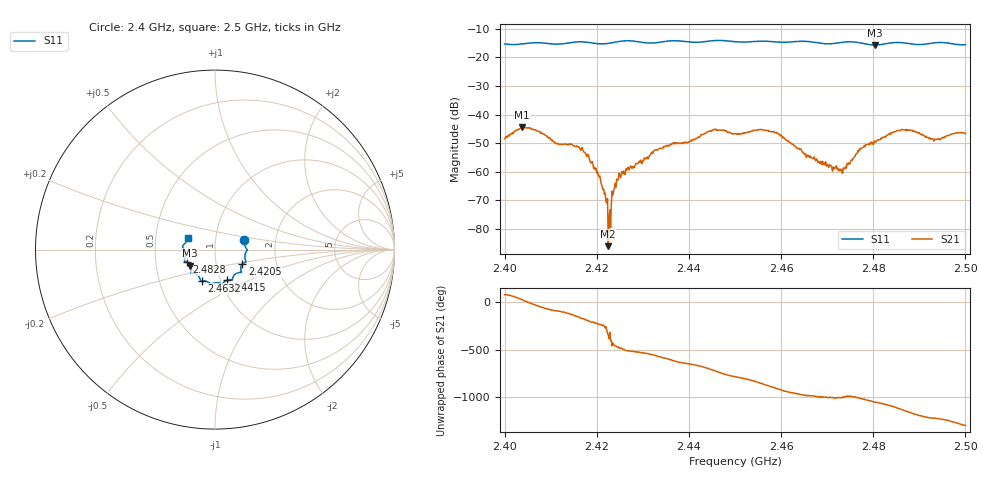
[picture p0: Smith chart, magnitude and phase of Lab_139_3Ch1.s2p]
# Hz S RI R 50
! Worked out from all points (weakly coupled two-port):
!   601 points, 2.4 GHz to 2.5 GHz, reference 50 ohm
!   highest |S21| = -44.33 dB at 2.4038 GHz (marker M1); lowest = -86.0 dB at 2.4225 GHz (marker M2)
!   lowest |S11| = -15.7 dB at 2.4803 GHz (marker M3), VSWR 1.39, Z = 37.3 - j6.82 ohm
!   |S11| at or under -10 dB: start of sweep to end of sweep
!   S12 and S22 are empty: the file has one direction only
!   S11 on the Smith chart (normalised r, x): 2.4 GHz: 1.38, +0.15; 2.4205 GHz: 1.34, -0.22; 2.4415 GHz: 1.07, -0.38; 2.4632 GHz: 0.82, -0.29; 2.4828 GHz: 0.72, -0.10; 2.5 GHz: 0.73, +0.10
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2.4e9  0.1632 0.0514  0.000719 0.00373  0 0  0 0
2.403833e9  0.1708 0.0116  0.0055 0.00257  0 0  0 0
2.416667e9  0.173 -0.0696  -0.00246 -0.000419  0 0  0 0
2.4205e9  0.1519 -0.0815  -0.000506 0.000651  0 0  0 0
2.4225e9  0.1436 -0.1001  4.92e-05 1.05e-05  0 0  0 0
2.423e9  0.1431 -0.1053  7.42e-05 -7.63e-05  0 0  0 0
2.423833e9  0.1439 -0.1134  -7.35e-05 -0.00051  0 0  0 0
2.425333e9  0.1469 -0.1234  -0.00059 -0.000728  0 0  0 0
2.433333e9  0.1006 -0.1514  -0.00208 0.00135  0 0  0 0
2.4415e9  0.0655 -0.1708  0.00222 0.00311  0 0  0 0
2.4455e9  0.0424 -0.1913  0.00546 -0.00032  0 0  0 0
2.45e9  0.0244 -0.186  0.00173 -0.00435  0 0  0 0
2.456667e9  -0.0242 -0.1896  -0.0048 -0.00236  0 0  0 0
2.463167e9  -0.0731 -0.1739  -0.00115 0.00252  0 0  0 0
2.466667e9  -0.0818 -0.167  -3.03e-05 0.00174  0 0  0 0
2.473e9  -0.1263 -0.1303  0.000403 0.00104  0 0  0 0
2.480333e9  -0.138 -0.0889  0.00313 0.00147  0 0  0 0
2.482833e9  -0.1587 -0.0702  0.00425 -0.00034  0 0  0 0
2.483333e9  -0.1628 -0.0682  0.00446 -0.000717  0 0  0 0
2.487833e9  -0.1666 -0.0483  0.000682 -0.00529  0 0  0 0
2.4935e9  -0.1794 0.0123  -0.00308 -0.00203  0 0  0 0
2.5e9  -0.1526 0.0647  -0.00345 0.00306  0 0  0 0
